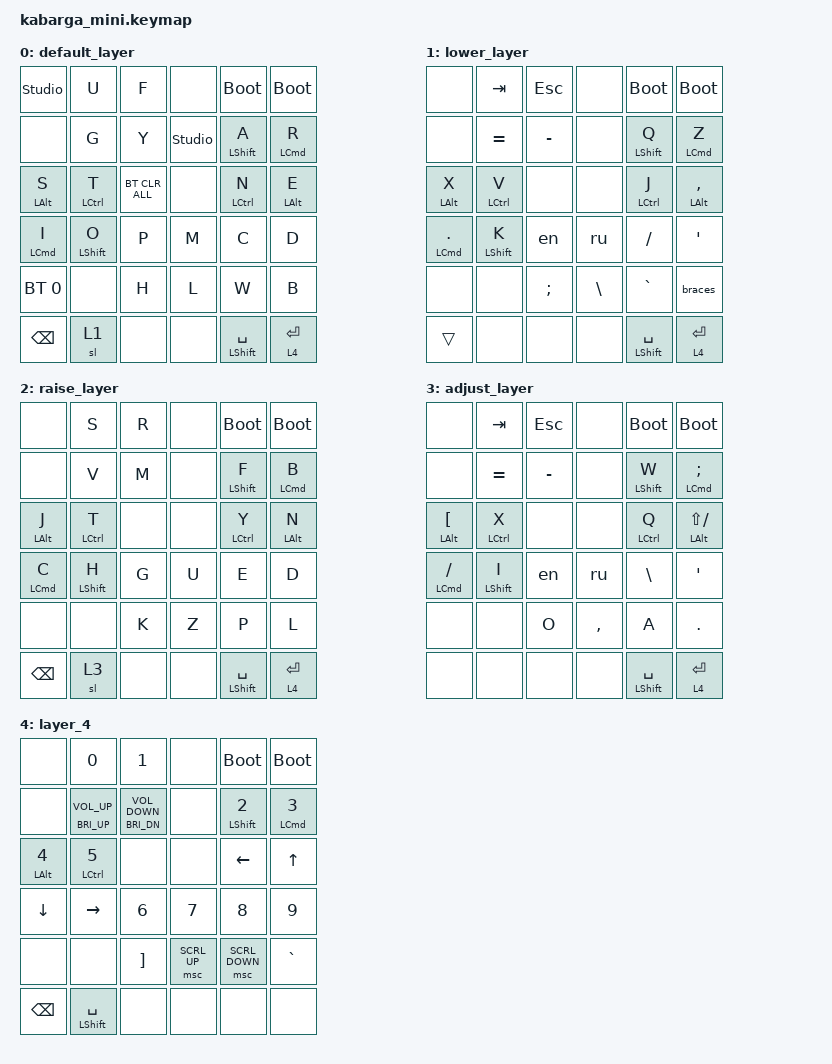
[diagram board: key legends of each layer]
/*
 * Copyright (c) 2020 The ZMK Contributors
 *
 * SPDX-License-Identifier: MIT
 */

#include <behaviors.dtsi>
#include <dt-bindings/zmk/bt.h>
#include <dt-bindings/zmk/keys.h>
#include <dt-bindings/zmk/pointing.h>

#define DEF 0
#define LWR 1
#define RSE 2
#define ADJ 3

&lt {
    quick_tap_ms = <220>;
    require-prior-idle-ms = <150>;
    flavor = "balanced";
    tapping-term-ms = <280>;
};

&mt {
    quick_tap_ms = <220>;
    tapping-term-ms = <280>;
    require-prior-idle-ms = <150>;
    flavor = "balanced";
};

/ {
    macros {
        en: en {
            compatible = "zmk,behavior-macro";
            #binding-cells = <0>;
            bindings = <&kp LA(LC(LG(E))) &to 0>;
            label = "EN";
        };

        ru: ru {
            compatible = "zmk,behavior-macro";
            #binding-cells = <0>;
            bindings = <&kp LA(LC(LG(R))) &to 2>;
            label = "RU";
        };

        braces: braces {
            compatible = "zmk,behavior-macro";
            #binding-cells = <0>;
            bindings = <&kp LEFT_BRACKET &kp RIGHT_BRACKET &kp LEFT_ARROW>;
            label = "BRACES";
        };
    };
};

/ {
    keymap {
        compatible = "zmk,keymap";

        default_layer {
            // ------------------------------------------------------------------------------------------------
            //| LGUI/] |  Q  |  W  |  E  |  R  |  T  |   |  Y  |  U   |  I  |  O  |  P  | RGUI/[ | 
            //| CTRL/` |  A  |  S  |  D  |  F  |  G  |   |  H  |  J   |  K  |  L  |  ;  | CTRL/' |
            //| LALT/\ |  Z  |  X  |  C  |  V  |  B  |   |  N  |  M   |  ,  |  .  |  /  | RALT/- |
            //                             | RSE | SPC | LWR |   | LWR | BKSP | RSE |

            bindings = <
&studio_unlock      &kp U             &kp F           &none           &bootloader       &bootloader
&none               &kp G             &kp Y           &studio_unlock  &mt LEFT_SHIFT A  &mt LEFT_COMMAND R
&mt LEFT_ALT S      &mt LCTRL T       &bt BT_CLR_ALL  &none           &mt LCTRL N       &mt LEFT_ALT E
&mt LEFT_COMMAND I  &mt LEFT_SHIFT O  &kp P           &kp M           &kp C             &kp D
&bt BT_SEL 0        &none             &kp H           &kp L           &kp W             &kp B
&kp BACKSPACE       &sl 1             &none           &none           &mt LSHIFT SPACE  &lt 4 ENTER
            >;
        };

        lower_layer {
            // -----------------------------------------------------------------------------------------
            //|LGUI/CAPS |  *  |  7 |  8  |  9  |  +  |    |  !  |  @  |  #  |  $  |  %  | RGUI/F1 |
            //|CTRL/MENU |  /  |  4 |  5  |  6  |  -  |    |  ^  |  &  |  *  |  (  |  )  | CTRL/F2 |
            //|  LALT/=  |  0  |  1 |  4  |  3  |  .  |    |  ls |  F4 |  F5 |  F6 |  F7 | RALT/F3 |
            //                      | ADJ | ___ | ___ |    | ___ | ___ | ADJ |

            bindings = <
&none                 &kp TAB           &kp ESC        &none          &bootloader           &bootloader
&none                 &kp EQUAL         &kp MINUS      &none          &mt LEFT_SHIFT Q      &mt LEFT_COMMAND Z
&mt LEFT_ALT X        &mt LCTRL V       &none          &none          &mt LCTRL J           &mt LEFT_ALT COMMA
&mt LEFT_COMMAND DOT  &mt LEFT_SHIFT K  &en            &ru            &kp SLASH             &kp SQT
&none                 &none             &kp SEMICOLON  &kp BACKSLASH  &kp GRAVE             &braces
&trans                &none             &none          &none          &mt LEFT_SHIFT SPACE  &lt 4 ENTER
            >;
        };

        raise_layer {
            // -----------------------------------------------------------------------------------------
            //| LGUI |  VOLU  |  PGUP  | PLAY | HOME | ___  |            | ___  | HOME | PLAY| PGUP | VOLU | RGUI |
            //| CTRL |  VOLD  |  LEFT  |  UP  | DOWN | RGHT |            | RGHT | DOWN | UP  | LEFT | VOLD | CTRL | 
            //| LALT |  MUTE  |  PGDN  |  ___ | END  | ___  |            | ___  | END  | ___ | PGDN | MUTE | RALT |
            //                          | ___ | ___  | ADJ  |            | ADJ  | ___  | ___ |

            bindings = <
&none               &kp S             &kp R  &none  &bootloader           &bootloader
&none               &kp V             &kp M  &none  &mt LEFT_SHIFT F      &mt LEFT_COMMAND B
&mt LEFT_ALT J      &mt LCTRL T       &none  &none  &mt LCTRL Y           &mt LEFT_ALT N
&mt LEFT_COMMAND C  &mt LEFT_SHIFT H  &kp G  &kp U  &kp E                 &kp D
&none               &none             &kp K  &kp Z  &kp P                 &kp L
&kp BACKSPACE       &sl 3             &none  &none  &mt LEFT_SHIFT SPACE  &lt 4 ENTER
            >;
        };

        adjust_layer {
            // -----------------------------------------------------------------------------------------
            //| BLDR |     |     |     |     |     |   |     |     |     |     |     | BLDR |
            //| BTCLR| BT0 | BT1 | BT2 | BT3 | BT4 |   | BT4 | BT3 | BT2 | BT1 | BT0 | BTCLR|
            //|pwrOFF|NUMLK|     |     |     |     |   |     |     |     |     |     |      |
            //                   |     |     |     |   |     |     |     |

            bindings = <
&none                      &kp TAB           &kp ESC    &none      &bootloader           &bootloader
&none                      &kp EQUAL         &kp MINUS  &none      &mt LEFT_SHIFT W      &mt LEFT_COMMAND SEMICOLON
&mt LEFT_ALT LEFT_BRACKET  &mt LCTRL X       &none      &none      &mt LCTRL Q           &mt LEFT_ALT LS(SLASH)
&mt LEFT_COMMAND SLASH     &mt LEFT_SHIFT I  &en        &ru        &kp BACKSLASH         &kp SINGLE_QUOTE
&none                      &none             &kp O      &kp COMMA  &kp A                 &kp PERIOD
&none                      &none             &none      &none      &mt LEFT_SHIFT SPACE  &lt 4 ENTER
            >;
        };

        layer_4 {
            bindings = <
&none                  &kp NUMBER_0              &kp NUMBER_1                &none         &bootloader              &bootloader
&none                  &mt C_BRI_UP C_VOLUME_UP  &mt C_BRI_DN C_VOLUME_DOWN  &none         &mt LEFT_SHIFT NUMBER_2  &mt LEFT_COMMAND NUMBER_3
&mt LEFT_ALT NUMBER_4  &mt LCTRL NUMBER_5        &none                       &none         &kp LEFT_ARROW           &kp UP_ARROW
&kp DOWN_ARROW         &kp RIGHT_ARROW           &kp NUMBER_6                &kp NUMBER_7  &kp NUMBER_8             &kp NUMBER_9
&none                  &none                     &kp RIGHT_BRACKET           &msc SCRL_UP  &msc SCRL_DOWN           &kp GRAVE
&kp BACKSPACE          &mt LEFT_SHIFT SPACE      &none                       &none         &none                    &none
            >;
        };
    };
};
